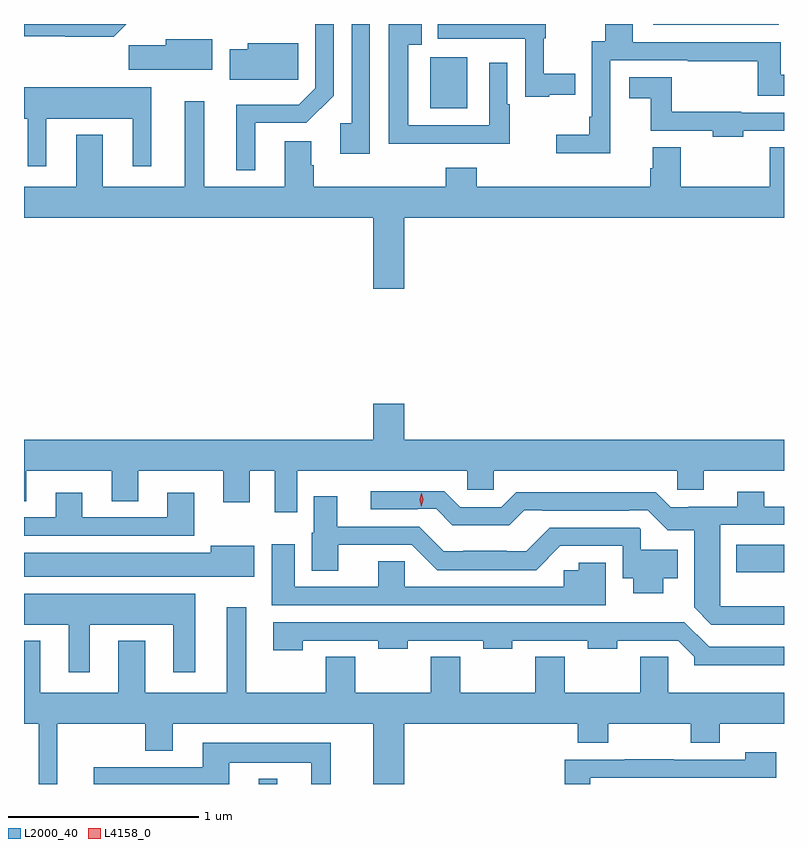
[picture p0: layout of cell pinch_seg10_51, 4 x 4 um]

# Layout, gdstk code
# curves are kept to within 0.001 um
import gdstk
lib = gdstk.Library(unit=1e-6, precision=1e-09)
def R(c, l, rs):  # rectangles x0, y0, x1, y1
    for r in rs: c.add(gdstk.rectangle(r[:2], r[2:], *l))
def P(c, l, *ps):  # polygons
    for p in ps: c.add(gdstk.Polygon(p, *l))
L2000_40 = (2000, 40)
L4158_0 = (4158, 0)

pinch_seg10_51 = lib.new_cell('pinch_seg10_51')
R(pinch_seg10_51, L2000_40, [(847.721,1292.008,847.819,1292.035), (850.235,1293.122,850.486,1293.268), (848.624,1295.564,848.818,1295.832), (849.798,1296.003,850.459,1296.008)])
P(pinch_seg10_51, L2000_40, [(848.307,1296.008),(848.211,1296.008),(848.211,1295.486),(848.151,1295.486),(848.151,1295.325),(848.307,1295.325)],
  [(849.251,1295.636),(849.388,1295.636),(849.388,1295.746),(849.222,1295.746),(849.222,1295.934),(849.232,1295.934),(849.232,1296.008),(848.664,1296.008),(848.664,1295.931),(849.123,1295.931),(849.123,1295.625),(849.251,1295.625)],
  [(849.572,1295.817),(849.979,1295.817),(849.979,1295.812),(850.347,1295.812),(850.347,1295.631),(850.486,1295.631),(850.486,1295.74),(850.468,1295.74),(850.468,1295.913),(849.691,1295.913),(849.691,1296.008),(849.544,1296.008),(849.544,1295.916),(849.474,1295.916),(849.474,1295.521),(849.462,1295.521),(849.462,1295.426),(849.288,1295.426),(849.288,1295.327),(849.572,1295.327)],
  [(847.702,1295.487),(847.972,1295.487),(848.115,1295.63),(848.115,1296.008),(848.019,1296.008),(848.019,1295.67),(847.933,1295.584),(847.604,1295.584),(847.604,1295.238),(847.702,1295.238)],
  [(847.025,1296.008),(846.486,1296.008),(846.486,1295.944),(846.703,1295.944),(846.703,1295.942),(846.959,1295.942)],
  [(848.621,1295.379),(849.043,1295.379),(849.043,1295.586),(849.03,1295.586),(849.03,1295.803),(848.934,1295.803),(848.934,1295.475),(848.509,1295.475),(848.509,1295.9),(848.579,1295.9),(848.579,1296.008),(848.405,1296.008),(848.405,1295.377),(848.621,1295.377)],
  [(847.477,1295.929),(847.232,1295.929),(847.232,1295.897),(847.038,1295.897),(847.038,1295.768),(847.477,1295.768)],
  [(847.929,1295.908),(847.664,1295.908),(847.664,1295.875),(847.568,1295.875),(847.568,1295.714),(847.929,1295.714)],
  [(850.272,1295.445),(850.486,1295.445),(850.486,1295.541),(850.26,1295.541),(850.26,1295.546),(849.895,1295.546),(849.895,1295.728),(849.672,1295.728),(849.672,1295.618),(849.785,1295.618),(849.785,1295.445),(850.112,1295.445),(850.112,1295.414),(850.272,1295.414)],
  [(846.604,1295.51),(847.058,1295.51),(847.058,1295.259),(847.156,1295.259),(847.156,1295.674),(846.486,1295.674),(846.486,1295.51),(846.506,1295.51),(846.506,1295.259),(846.604,1295.259)],
  [(848.488,1294.988),(850.486,1294.988),(850.486,1295.36),(850.411,1295.36),(850.411,1295.152),(849.942,1295.152),(849.942,1295.36),(849.794,1295.36),(849.794,1295.25),(849.782,1295.25),(849.782,1295.152),(848.87,1295.152),(848.87,1295.251),(848.705,1295.251),(848.705,1295.152),(848.012,1295.152),(848.012,1295.264),(847.999,1295.264),(847.999,1295.392),(847.859,1295.392),(847.859,1295.152),(847.435,1295.152),(847.435,1295.602),(847.331,1295.602),(847.331,1295.152),(846.901,1295.152),(846.901,1295.425),(846.761,1295.425),(846.761,1295.152),(846.486,1295.152),(846.486,1294.988),(848.324,1294.988),(848.324,1294.614),(848.488,1294.614)],
  [(847.924,1293.656),(848.82,1293.656),(848.82,1293.558),(848.958,1293.558),(848.958,1293.656),(849.924,1293.656),(849.924,1293.558),(850.063,1293.558),(850.063,1293.656),(850.486,1293.656),(850.486,1293.82),(848.488,1293.82),(848.488,1294.009),(848.324,1294.009),(848.324,1293.82),(846.486,1293.82),(846.486,1293.496),(846.499,1293.496),(846.499,1293.656),(846.947,1293.656),(846.947,1293.496),(847.087,1293.496),(847.087,1293.656),(847.535,1293.656),(847.535,1293.492),(847.675,1293.492),(847.675,1293.656),(847.805,1293.656),(847.805,1293.438),(847.924,1293.438)],
  [(850.486,1292.944),(850.15,1292.944),(850.15,1293.372),(850.486,1293.372),(850.486,1293.468),(850.381,1293.468),(850.381,1293.547),(850.241,1293.547),(850.241,1293.468),(849.985,1293.468),(849.985,1293.465),(849.891,1293.465),(849.812,1293.544),(849.076,1293.544),(848.997,1293.465),(848.781,1293.465),(848.697,1293.549),(848.31,1293.549),(848.31,1293.453),(848.558,1293.453),(848.558,1293.456),(848.656,1293.456),(848.741,1293.371),(849.04,1293.371),(849.119,1293.45),(849.214,1293.45),(849.214,1293.447),(849.668,1293.447),(849.668,1293.45),(849.768,1293.45),(849.874,1293.344),(850.013,1293.344),(850.013,1292.938),(850.104,1292.847),(850.486,1292.847)],
  [(847.381,1293.541),(847.241,1293.541),(847.241,1293.411),(846.793,1293.411),(846.793,1293.541),(846.653,1293.541),(846.653,1293.411),(846.486,1293.411),(846.486,1293.315),(847.381,1293.315)],
  [(849.85,1293.092),(849.928,1293.092),(849.928,1293.241),(849.732,1293.241),(849.732,1293.348),(849.723,1293.357),(849.252,1293.357),(849.129,1293.234),(848.694,1293.234),(848.565,1293.363),(848.134,1293.363),(848.134,1293.523),(848.012,1293.523),(848.012,1293.33),(848,1293.33),(848,1293.13),(848.14,1293.13),(848.14,1293.267),(848.527,1293.267),(848.66,1293.134),(849.182,1293.134),(849.309,1293.261),(849.636,1293.261),(849.636,1293.092),(849.692,1293.092),(849.692,1293.011),(849.85,1293.011)],
  [(849.547,1293.172),(849.407,1293.172),(849.407,1293.132),(849.327,1293.132),(849.327,1293.045),(848.489,1293.045),(848.489,1293.181),(848.351,1293.181),(848.351,1293.045),(847.912,1293.045),(847.912,1293.271),(847.79,1293.271),(847.79,1292.949),(849.547,1292.949)],
  [(847.699,1293.262),(847.469,1293.262),(847.469,1293.226),(846.486,1293.226),(846.486,1293.098),(847.699,1293.098)],
  [(846.832,1292.846),(847.271,1292.846),(847.271,1292.595),(847.387,1292.595),(847.387,1293.01),(846.486,1293.01),(846.486,1292.846),(846.722,1292.846),(846.722,1292.595),(846.832,1292.595)],
  [(846.662,1292.324),(847.123,1292.324),(847.123,1292.182),(847.27,1292.182),(847.27,1292.324),(848.324,1292.324),(848.324,1292.008),(848.488,1292.008),(848.488,1292.324),(849.401,1292.324),(849.401,1292.225),(849.561,1292.225),(849.561,1292.324),(849.994,1292.324),(849.994,1292.225),(850.149,1292.225),(850.149,1292.324),(850.486,1292.324),(850.486,1292.488),(849.876,1292.488),(849.876,1292.678),(849.73,1292.678),(849.73,1292.488),(849.333,1292.488),(849.333,1292.678),(849.178,1292.678),(849.178,1292.488),(848.781,1292.488),(848.781,1292.678),(848.626,1292.678),(848.626,1292.488),(848.229,1292.488),(848.229,1292.678),(848.074,1292.678),(848.074,1292.488),(847.657,1292.488),(847.657,1292.938),(847.553,1292.938),(847.553,1292.488),(847.123,1292.488),(847.123,1292.761),(846.983,1292.761),(846.983,1292.488),(846.571,1292.488),(846.571,1292.761),(846.486,1292.761),(846.486,1292.324),(846.563,1292.324),(846.563,1292.008),(846.662,1292.008)],
  [(850.486,1292.73),(850.092,1292.73),(849.962,1292.86),(847.797,1292.859),(847.797,1292.712),(847.953,1292.712),(847.953,1292.763),(848.35,1292.763),(848.35,1292.72),(848.505,1292.72),(848.505,1292.763),(848.902,1292.763),(848.902,1292.72),(849.057,1292.72),(849.057,1292.763),(849.454,1292.763),(849.454,1292.72),(849.609,1292.72),(849.609,1292.763),(849.93,1292.763),(850.014,1292.679),(850.014,1292.633),(850.486,1292.633)],
  [(847.567,1292.12),(847.997,1292.12),(847.997,1292.008),(848.101,1292.008),(848.101,1292.224),(847.427,1292.224),(847.427,1292.097),(846.854,1292.097),(846.854,1292.008),(847.567,1292.008)],
  [(849.466,1292.04),(850.444,1292.04),(850.444,1292.176),(850.283,1292.176),(850.283,1292.136),(849.905,1292.136),(849.905,1292.138),(849.649,1292.138),(849.649,1292.136),(849.332,1292.136),(849.332,1292.008),(849.466,1292.008)])
P(pinch_seg10_51, L4158_0, [(848.577,1293.467),(848.577,1293.467),(848.568,1293.504),(848.578,1293.539),(848.578,1293.539),(848.579,1293.539),(848.588,1293.503),(848.577,1293.467)])

lib.write_gds('pinch_seg10_51.gds')
